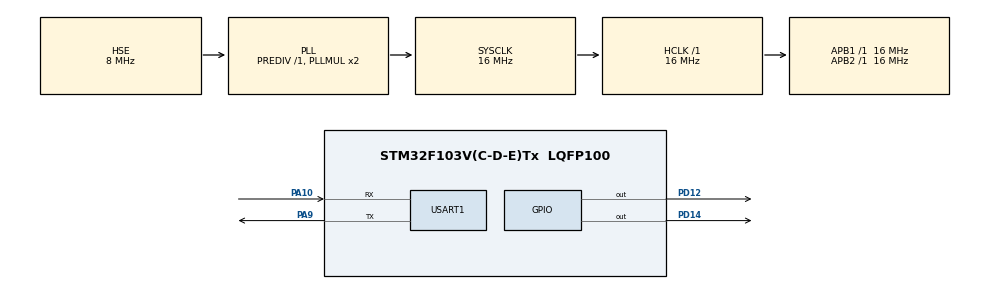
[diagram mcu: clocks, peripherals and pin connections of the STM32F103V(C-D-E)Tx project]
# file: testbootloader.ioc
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Mcu.Family=STM32F1
Mcu.Name=STM32F103V(C-D-E)Tx
Mcu.Package=LQFP100
NVIC.PriorityGroup=NVIC_PRIORITYGROUP_4
OSC_IN.Mode=HSE-External-Oscillator
OSC_IN.Signal=RCC_OSC_IN
OSC_OUT.Mode=HSE-External-Oscillator
OSC_OUT.Signal=RCC_OSC_OUT
PA10.Mode=Asynchronous
PA10.Signal=USART1_RX
PA9.Mode=Asynchronous
PA9.Signal=USART1_TX
PD12.Signal=GPIO_Output
PD14.Signal=GPIO_Output
ProjectManager.HeapSize=0x200
ProjectManager.StackSize=0x400
ProjectManager.TargetToolchain=STM32CubeIDE
RCC.AHBFreq_Value=16000000
RCC.APB1Freq_Value=16000000
RCC.APB1TimFreq_Value=16000000
RCC.APB2Freq_Value=16000000
RCC.APB2TimFreq_Value=16000000
RCC.HCLKFreq_Value=16000000
RCC.PLLSourceVirtual=RCC_PLLSOURCE_HSE
RCC.SYSCLKFreq_VALUE=16000000
RCC.SYSCLKSource=RCC_SYSCLKSOURCE_PLLCLK
RCC.USBFreq_Value=16000000
USART1.VirtualMode=VM_ASYNC
board=custom

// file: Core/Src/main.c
/* USER CODE BEGIN Header */
/**
  ******************************************************************************
  * @file           : main.c
  * @brief          : Main program body
  ******************************************************************************
  * @attention
  *
  * Copyright (c) 2023 STMicroelectronics.
  * All rights reserved.
  *
  * This software is licensed under terms that can be found in the LICENSE file
  * in the root directory of this software component.
  * If no LICENSE file comes with this software, it is provided AS-IS.
  *
  ******************************************************************************
  */
/* USER CODE END Header */
#include "main.h"

/* USER CODE BEGIN Includes */

#include <stdio.h>
#include <string.h>
/* USER CODE END Includes */

/* USER CODE BEGIN PM */
#define MAJOR 0
#define MINOR 1
/* USER CODE END PM */

UART_HandleTypeDef huart1;

/* USER CODE BEGIN PV */
uint8_t BL_Version[2] = {MAJOR, MINOR};
/* USER CODE END PV */

void SystemClock_Config(void);
static void MX_GPIO_Init(void);
static void MX_USART1_UART_Init(void);
/* USER CODE BEGIN PFP */
static void goto_application(void);
/* USER CODE END PFP */

int main(void)
{

  /* MCU Configuration--------------------------------------------------------*/

  /* Reset of all peripherals, Initializes the Flash interface and the Systick. */
  HAL_Init();

  /* Configure the system clock */
  SystemClock_Config();

  /* Initialize all configured peripherals */
  MX_GPIO_Init();
  MX_USART1_UART_Init();
  /* USER CODE BEGIN 2 */
  printf("Bootloader %d:%d Started!!", BL_Version[0], BL_Version[1]);
  /* USER CODE END 2 */

  /* Infinite loop */
  /* USER CODE BEGIN WHILE */
  uint8_t i = 0;
  while (1)
  {

    for( i = 0; i< 20; i++)
    {
      HAL_GPIO_TogglePin(GPIOD, GPIO_PIN_12);
      HAL_Delay(100);
    }
    goto_application();
    /* USER CODE END WHILE */

  }
}

void SystemClock_Config(void)
{
  RCC_OscInitTypeDef RCC_OscInitStruct = {0};
  RCC_ClkInitTypeDef RCC_ClkInitStruct = {0};

  /** Initializes the RCC Oscillators according to the specified parameters
  * in the RCC_OscInitTypeDef structure.
  */
  RCC_OscInitStruct.OscillatorType = RCC_OSCILLATORTYPE_HSE;
  RCC_OscInitStruct.HSEState = RCC_HSE_ON;
  RCC_OscInitStruct.HSEPredivValue = RCC_HSE_PREDIV_DIV1;
  RCC_OscInitStruct.HSIState = RCC_HSI_ON;
  RCC_OscInitStruct.PLL.PLLState = RCC_PLL_ON;
  RCC_OscInitStruct.PLL.PLLSource = RCC_PLLSOURCE_HSE;
  RCC_OscInitStruct.PLL.PLLMUL = RCC_PLL_MUL2;
  if (HAL_RCC_OscConfig(&RCC_OscInitStruct) != HAL_OK)
  {
    Error_Handler();
  }

  /** Initializes the CPU, AHB and APB buses clocks
  */
  RCC_ClkInitStruct.ClockType = RCC_CLOCKTYPE_HCLK|RCC_CLOCKTYPE_SYSCLK
                              |RCC_CLOCKTYPE_PCLK1|RCC_CLOCKTYPE_PCLK2;
  RCC_ClkInitStruct.SYSCLKSource = RCC_SYSCLKSOURCE_PLLCLK;
  RCC_ClkInitStruct.AHBCLKDivider = RCC_SYSCLK_DIV1;
  RCC_ClkInitStruct.APB1CLKDivider = RCC_HCLK_DIV1;
  RCC_ClkInitStruct.APB2CLKDivider = RCC_HCLK_DIV1;

  if (HAL_RCC_ClockConfig(&RCC_ClkInitStruct, FLASH_LATENCY_0) != HAL_OK)
  {
    Error_Handler();
  }
}

static void MX_USART1_UART_Init(void)
{

  huart1.Instance = USART1;
  huart1.Init.BaudRate = 115200;
  huart1.Init.WordLength = UART_WORDLENGTH_8B;
  huart1.Init.StopBits = UART_STOPBITS_1;
  huart1.Init.Parity = UART_PARITY_NONE;
  huart1.Init.Mode = UART_MODE_TX_RX;
  huart1.Init.HwFlowCtl = UART_HWCONTROL_NONE;
  huart1.Init.OverSampling = UART_OVERSAMPLING_16;
  if (HAL_UART_Init(&huart1) != HAL_OK)
  {
    Error_Handler();
  }

}

static void MX_GPIO_Init(void)
{
  GPIO_InitTypeDef GPIO_InitStruct = {0};

  /* GPIO Ports Clock Enable */
  __HAL_RCC_GPIOD_CLK_ENABLE();
  __HAL_RCC_GPIOA_CLK_ENABLE();

  /*Configure GPIO pin Output Level */
  HAL_GPIO_WritePin(GPIOD, GPIO_PIN_12|GPIO_PIN_14, GPIO_PIN_RESET);

  /*Configure GPIO pins : PD12 PD14 */
  GPIO_InitStruct.Pin = GPIO_PIN_12|GPIO_PIN_14;
  GPIO_InitStruct.Mode = GPIO_MODE_OUTPUT_PP;
  GPIO_InitStruct.Pull = GPIO_NOPULL;
  GPIO_InitStruct.Speed = GPIO_SPEED_FREQ_LOW;
  HAL_GPIO_Init(GPIOD, &GPIO_InitStruct);

}

/* USER CODE BEGIN 4 */

#ifdef __GNUC__
	/* With GCC/RAISONANCE, small printf (option LD Linker->Libraries->Small printf
	 set to 'Yes') calls __io_putchar() */

int __io_putchar(int ch)
#else
int fputc(int ch, FILE *f)
#endif /* __GNUC__*/
  {
    /* Place your implementation of fputc here */
    /* e.g. write a character to the EVAL_COM1 and Loop until the end of transmission */

    HAL_UART_Transmit(&huart1, (uint8_t *)&ch, 1, HAL_MAX_DELAY);
   return ch;

  }

  static void goto_application(void)
  {
    printf("Gonna Jump to Application...\n");
    void (*app_reset_handler) (void) = (void*)(*((volatile uint32_t*) (0x8004400 +4U)));

    app_reset_handler();
  }
/* USER CODE END 4 */

void Error_Handler(void)
{
  __disable_irq();
  while (1)
  {
  }
}
